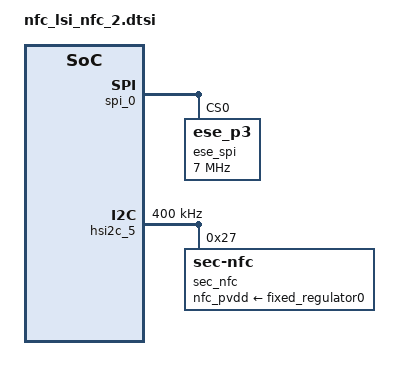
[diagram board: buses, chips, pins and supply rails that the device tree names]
/*
 * This program is free software; you can redistribute it and/or modify
 * it under the terms of the GNU General Public License version 2 and
 * only version 2 as published by the Free Software Foundation.
 *
 * This program is distributed in the hope that it will be useful,
 * but WITHOUT ANY WARRANTY; without even the implied warranty of
 * MERCHANTABILITY or FITNESS FOR A PARTICULAR PURPOSE.  See the
 * GNU General Public License for more details.
 */

#if 1
#if 0
&${ese_check_parent} {
	ese_check_default: ese_check_default {
		GPIO_CONFIG_PUD_DRV(${ese_check}, FUNC_INPUT, PULL_NONE, DRV_LV3);
		samsung,pin-con-pdn = <2>; /* PIN_PDN_INPUT */
		samsung,pin-pud-pdn = <PIN_PULL_NONE>;
	};
};
#endif

&pinctrl_3 {
	ese_spi_bus_suspend: ese_spi_bus_suspend {
		samsung,pins = SEC_GPIO(AP,gpp0,gpp0,0), SEC_GPIO(AP,gpp0,gpp0,1), SEC_GPIO(AP,gpp0,gpp0,2);
		samsung,pin-function = <0>; /* INPUT */
		samsung,pin-pud = <PIN_PULL_DOWN>; /* DOWN */
		samsung,pin-drv = <PIN_AP_DRV_LV1>;
		samsung,pin-con-pdn = <2>; /* PIN_PDN_INPUT */
		samsung,pin-pud-pdn = <PIN_PULL_DOWN>;
	};

	ese_spi_cs_suspend: ese_spi_cs_suspend {
		samsung,pins = SEC_GPIO(AP,gpp0,gpp0,3);
		samsung,pin-function = <1>; /* OUTPUT */
		samsung,pin-pud = <PIN_PULL_NONE>; /* NONE */
		samsung,pin-drv = <PIN_AP_DRV_LV1>;
		samsung,pin-val = <1>;
		samsung,pin-con-pdn = <1>; /*OUT1*/
		samsung,pin-pud-pdn = <PIN_PULL_NONE>;
	};

	ese_spi_bus: ese_spi_bus {
		samsung,pins = SEC_GPIO(AP,gpp0,gpp0,0), SEC_GPIO(AP,gpp0,gpp0,1), SEC_GPIO(AP,gpp0,gpp0,2);
		samsung,pin-function = <2>;
		samsung,pin-pud = <PIN_PULL_NONE>;
		samsung,pin-drv = <PIN_AP_DRV_LV1>;
	};

	ese_spi_cs: ese_spi_cs {
		samsung,pins = SEC_GPIO(AP,gpp0,gpp0,3);
		samsung,pin-function = <1>;
		samsung,pin-pud = <PIN_PULL_NONE>;
		samsung,pin-drv = <PIN_AP_DRV_LV1>;
	};
};

&spi_0 {
	status = "ok";
	pinctrl-names = "ese_active", "ese_suspend";
	pinctrl-0 = <&ese_spi_bus &ese_spi_cs>;
	pinctrl-1 = <&ese_spi_bus_suspend &ese_spi_cs_suspend>;

	ese_spi@0 {
#if defined(CONFIG_SEC_FACTORY_INTERPOSER) && 0
		status = "disabled";
#else
		status = "ok";
#endif
		compatible = "ese_p3";
		reg = <0>;
		spi-max-frequency = <7000000>;
#if 0
		check_ese = <SEC_GPIO_REF(${ese_check}) 0>;
		pinctrl-names = "default";
		pinctrl-0 = <&ese_check_default>;
#endif
		gpio-controller;
		#gpio-cells = <2>;
#if 0
		p3-vdd-supply = <&${ese_pvdd_ldo}>;
#endif
		ese_p3,cs-gpio = <SEC_GPIO_REF(AP,gpp0,gpp0,3) 0>;
		controller-data {
			samsung,spi-feedback-delay = <0>;
			samsung,spi-chip-select-mode = <0>;
		};
	};
};

#if 0
	regulator-name = "ese_pvdd";
};
#endif

#if 0
/ {
	fragment@ese_platform {
		target-path = "/";
		__overlay__ {
			ese_platform {
#if defined(CONFIG_SEC_FACTORY_INTERPOSER) && 0
				status = "disabled";
#else
				status = "ok";
#endif
				compatible = "p3_platform";
			};
		};
	};
};
#endif
#endif

&pinctrl_3 {
	nfc_i2c_pull_none: nfc_i2c_pull_none {
		samsung,pins = SEC_GPIO(AP,gpp1,gpp1,2), SEC_GPIO(AP,gpp1,gpp1,3);
		samsung,pin-function = <3>;
		samsung,pin-con-pdn = <2>; /* PIN_PDN_INPUT */
		samsung,pin-pud = <PIN_PULL_NONE>;
		samsung,pin-pud-pdn = <PIN_PULL_NONE>;
	};

#if 1
	nfc_i2c_no_change: nfc_i2c_no_change {
		samsung,pins = SEC_GPIO(AP,gpp1,gpp1,2), SEC_GPIO(AP,gpp1,gpp1,3);
		samsung,pin-function = <3>;
		samsung,pin-con-pdn = <2>; /* PIN_PDN_INPUT */
	};
	nfc_i2c_pull_up: nfc_i2c_pull_up {
		samsung,pins = SEC_GPIO(AP,gpp1,gpp1,2), SEC_GPIO(AP,gpp1,gpp1,3);
		samsung,pin-function = <3>;
		samsung,pin-con-pdn = <2>; /* PIN_PDN_INPUT */
		samsung,pin-pud = <PIN_PULL_UP>;
		samsung,pin-pud-pdn = <PIN_PULL_UP>;
	};
#endif
};

#if 0
&${xclkout_parent} {
	xclkout: xclkout {
		samsung,pins = SEC_GPIO(${xclkout_gpio});
		samsung,pin-function = <2>;
		samsung,pin-pud = <PIN_PULL_NONE>;
	};

	xclkout_nc: xclkout_nc {
		samsung,pins = SEC_GPIO(${xclkout_gpio});
		samsung,pin-function = <0>;
		samsung,pin-pud = <PIN_PULL_DOWN>;
	};
};
#endif

&pinctrl_1 {
	nfc_firm: nfc_firm {
		GPIO_CONFIG_PUD_DRV(AP,gpm18,gpm18,0, FUNC_OUTPUT_LOW, PULL_NONE, DRV_LV3);
		samsung,pin-con-pdn = <3>; /* PIN_PDN_PREV */
		samsung,pin-pud-pdn = <PIN_PULL_NONE>;
	};

	nfc_firm_nc: nfc_firm_nc {
		GPIO_CONFIG_PUD_DRV(AP,gpm18,gpm18,0, FUNC_INPUT, PULL_DOWN, DRV_LV3);
	};
};

&pinctrl_1 {
	nfc_en: nfc_en {
		GPIO_CONFIG_PUD_DRV(AP,gpm20,gpm20,0, FUNC_OUTPUT_LOW, PULL_NONE, DRV_LV3);
		samsung,pin-con-pdn = <3>; /* PIN_PDN_PREV */
		samsung,pin-pud-pdn = <PIN_PULL_NONE>;
	};

	nfc_en_nc: nfc_en_nc {
		GPIO_CONFIG_PUD_DRV(AP,gpm20,gpm20,0, FUNC_INPUT, PULL_DOWN, DRV_LV3);
	};
};

&pinctrl_0 {
	nfc_clk_req: nfc_clk_req {
		samsung,pins = SEC_GPIO(AP,gpa1,gpa1,1);
		samsung,pin-function = <2>;
		samsung,pin-pud = <PIN_PULL_DOWN>;
	};

	nfc_clk_req_nc: nfc_clk_req_nc {
		samsung,pins = SEC_GPIO(AP,gpa1,gpa1,1);
		samsung,pin-function = <0>;
		samsung,pin-pud = <PIN_PULL_DOWN>;
	};
};

#if 0
&${nfc_check_parent} {
	nfc_check: nfc_check {
		GPIO_CONFIG_PUD_DRV(${nfc_check}, FUNC_INPUT, PULL_NONE, DRV_LV3);
		samsung,pin-con-pdn = <2>; /* PIN_PDN_INPUT */
		samsung,pin-pud-pdn = <PIN_PULL_NONE>;
	};
};
#endif

&hsi2c_5 {
	#address-cells = <1>;
	#size-cells = <0>;

	status = "ok";
	clock-frequency = <400000>; /* for HSI2C */
	samsung,i2c-max-bus-freq = <400000>; /* for Normal HW I2C */
	samsung,reset-before-trans;
#if 1
	pinctrl-names = "default", "i2c_pull_up";
	pinctrl-0 = <&nfc_i2c_no_change>;
	pinctrl-1 = <&nfc_i2c_pull_up>;
#else
	pinctrl-names = "default";
	pinctrl-0 = <&nfc_i2c_pull_none>;
#endif
	sec_nfc: sec-nfc@27 {
#if defined(CONFIG_SEC_FACTORY_INTERPOSER) && 0
		status = "disabled";
#else
		status = "ok";
#endif
		compatible = "sec-nfc";
		reg = <0x27>;

		interrupts = <SEC_GPIO_NUM(AP,gpm19,gpm19,0) 0 0>;
		interrupt-parent = <SEC_GPIO_TYPE(AP,gpm19,gpm19,0)>;

		sec-nfc,ven-gpio = <SEC_GPIO_REF(AP,gpm20,gpm20,0) 0>;
		sec-nfc,firm-gpio = <SEC_GPIO_REF(AP,gpm18,gpm18,0) 0>;
		sec-nfc,irq-gpio = <SEC_GPIO_REF(AP,gpm19,gpm19,0) 0>;
#if 0
		sec-nfc,check_nfc = <SEC_GPIO_REF(${nfc_check}) 0>;
#endif
		sec-nfc,clk_req-gpio = <SEC_GPIO_REF(AP,gpa1,gpa1,1) 0xf>;
#if 1
		sec-nfc,coldreset-gpio = <SEC_GPIO_REF(AP,gpp1,gpp1,1) 0>;
#endif
		nfc_pvdd-supply = <&fixed_regulator0>;

		sec-nfc,ldo_control;

#if 0
		sec-nfc,irq_all_trigger;
#endif
#if 0
		clocks = <&clock OSC_NFC>;
		clock-names = "oscclk_nfc";
		sec-nfc,nfc_ap_clk;
#endif
		sec-nfc,nfc_ic_type = "SEN6";

		pinctrl-names = "default", "nfc_nc";
		pinctrl-0 = <&nfc_en &nfc_firm &nfc_clk_req
#if 0
				&nfc_check
#endif
#if 0
				&xclkout
#endif
				>;
		pinctrl-1 = <&nfc_en_nc &nfc_firm_nc &nfc_clk_req_nc
#if 0
				&xclkout_nc
#endif
				>;
	};
};

&fixed_regulator0 {
	regulator-name = "nfc_pvdd";
};

